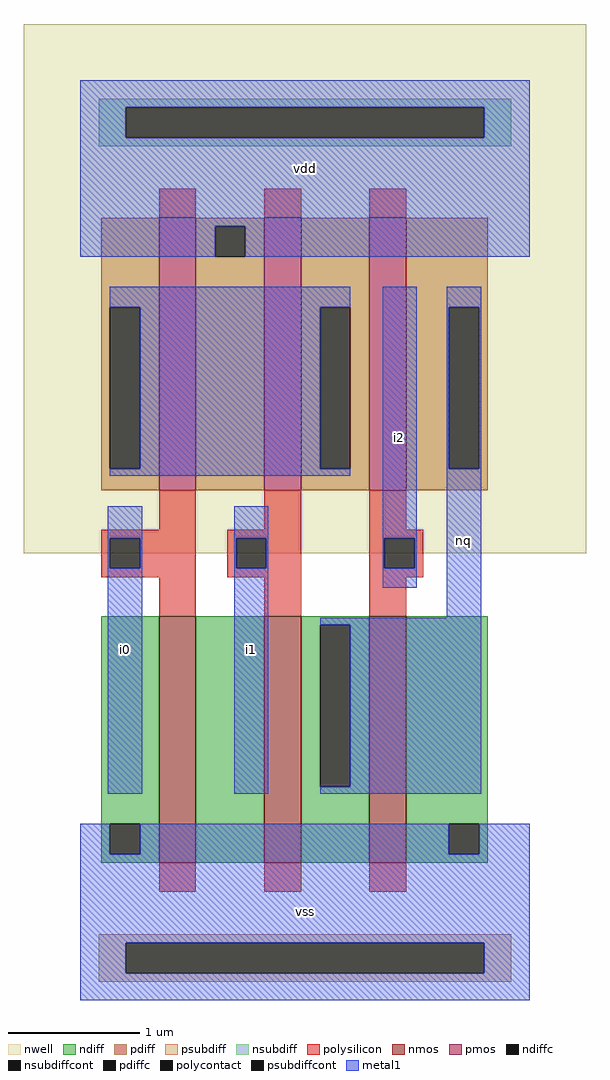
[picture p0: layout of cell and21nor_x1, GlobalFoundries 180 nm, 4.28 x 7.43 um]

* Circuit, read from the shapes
.subckt and21nor_x1 vss vdd i0 nq i1 i2
XM1 n1 i0 vss vss nfet_03v3 w=1.875u l=0.28u
XM2 nq i1 n1 vss nfet_03v3 w=1.875u l=0.28u
XM3 vss i2 nq vss nfet_03v3 w=1.875u l=0.28u
XM4 vdd i0 n2 vdd pfet_03v3 w=2.075u l=0.28u
XM5 n2 i1 vdd vdd pfet_03v3 w=2.075u l=0.28u
XM6 nq i2 n2 vdd pfet_03v3 w=2.075u l=0.28u
.ends

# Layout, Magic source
magic
tech gf180mcuD
magscale 1 10
<< nwell >>
rect -86 680 770 1486
<< nmos >>
rect 120 209 176 584
rect 280 209 336 584
rect 440 209 496 584
<< pmos >>
rect 120 776 176 1191
rect 280 776 336 1191
rect 440 776 496 1191
<< ndiff >>
rect 32 268 120 584
rect 32 222 45 268
rect 91 222 120 268
rect 32 209 120 222
rect 176 209 280 584
rect 336 571 440 584
rect 336 325 365 571
rect 411 325 440 571
rect 336 209 440 325
rect 496 268 620 584
rect 496 222 561 268
rect 607 222 620 268
rect 496 209 620 222
<< pdiff >>
rect 32 1055 120 1191
rect 32 809 45 1055
rect 91 809 120 1055
rect 32 776 120 809
rect 176 1178 280 1191
rect 176 1132 205 1178
rect 251 1132 280 1178
rect 176 776 280 1132
rect 336 1055 440 1191
rect 336 809 365 1055
rect 411 809 440 1055
rect 336 776 440 809
rect 496 1055 620 1191
rect 496 809 561 1055
rect 607 809 620 1055
rect 496 776 620 809
<< ndiffc >>
rect 45 222 91 268
rect 365 325 411 571
rect 561 222 607 268
<< pdiffc >>
rect 45 809 91 1055
rect 205 1132 251 1178
rect 365 809 411 1055
rect 561 809 607 1055
<< psubdiff >>
rect 28 87 656 100
rect 28 41 69 87
rect 615 41 656 87
rect 28 28 656 41
<< nsubdiff >>
rect 28 1359 656 1372
rect 28 1313 69 1359
rect 615 1313 656 1359
rect 28 1300 656 1313
<< psubdiffcont >>
rect 69 41 615 87
<< nsubdiffcont >>
rect 69 1313 615 1359
<< polysilicon >>
rect 120 1191 176 1235
rect 280 1191 336 1235
rect 440 1191 496 1235
rect 120 716 176 776
rect 280 716 336 776
rect 32 703 176 716
rect 32 657 45 703
rect 91 657 176 703
rect 32 644 176 657
rect 224 703 336 716
rect 224 657 237 703
rect 283 657 336 703
rect 224 644 336 657
rect 120 584 176 644
rect 280 584 336 644
rect 440 716 496 776
rect 440 703 522 716
rect 440 657 463 703
rect 509 657 522 703
rect 440 644 522 657
rect 440 584 496 644
rect 120 165 176 209
rect 280 165 336 209
rect 440 165 496 209
<< polycontact >>
rect 45 657 91 703
rect 237 657 283 703
rect 463 657 509 703
<< metal1 >>
rect 0 1359 684 1400
rect 0 1313 69 1359
rect 615 1313 684 1359
rect 0 1178 684 1313
rect 0 1132 205 1178
rect 251 1132 684 1178
rect 45 1055 411 1086
rect 91 809 365 1055
rect 45 798 411 809
rect 42 703 94 752
rect 42 657 45 703
rect 91 657 94 703
rect 42 314 94 657
rect 234 703 286 752
rect 234 657 237 703
rect 283 657 286 703
rect 234 314 286 657
rect 460 703 512 1086
rect 460 657 463 703
rect 509 657 512 703
rect 460 628 512 657
rect 558 1055 610 1086
rect 558 809 561 1055
rect 607 809 610 1055
rect 558 582 610 809
rect 365 571 610 582
rect 411 325 610 571
rect 365 314 610 325
rect 0 222 45 268
rect 91 222 561 268
rect 607 222 684 268
rect 0 87 684 222
rect 0 41 69 87
rect 615 41 684 87
rect 0 0 684 41
<< labels >>
rlabel metal1 s 0 0 684 268 4 vss
port 3 nsew
rlabel metal1 s 0 1132 684 1400 4 vdd
port 5 nsew
rlabel metal1 s 42 314 94 752 4 i0
port 7 nsew
rlabel metal1 s 558 314 610 1086 4 nq
port 9 nsew
rlabel metal1 s 234 314 286 752 4 i1
port 11 nsew
rlabel metal1 s 460 628 512 1086 4 i2
port 13 nsew
<< end >>
